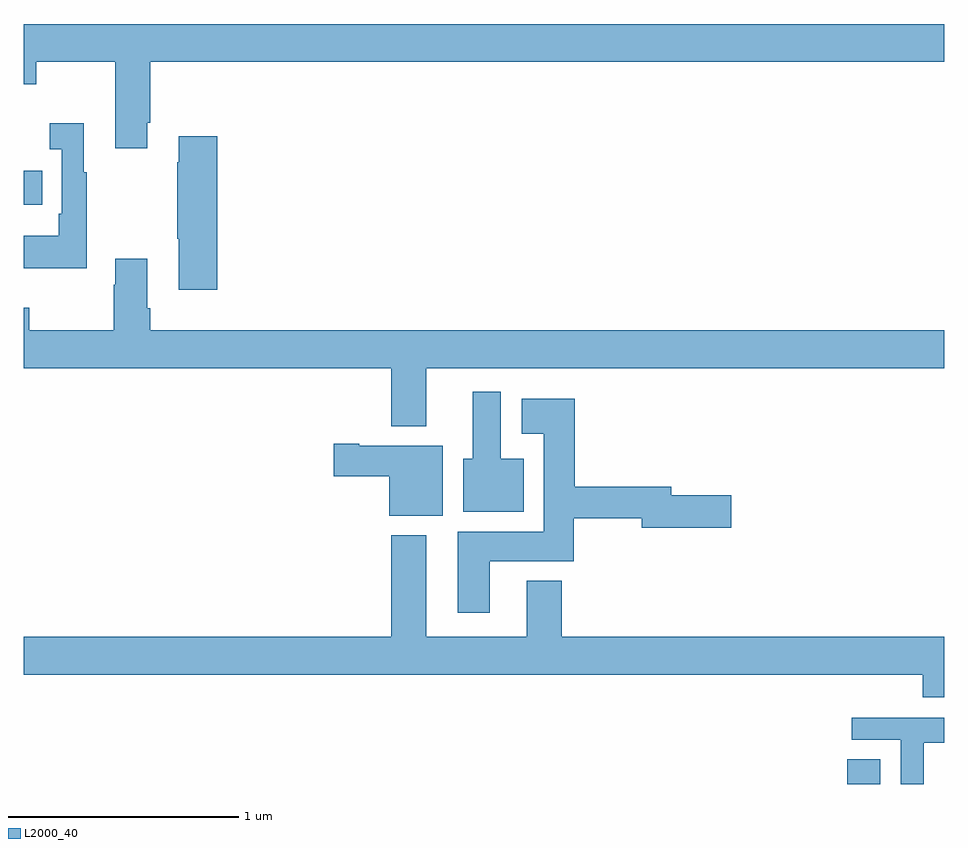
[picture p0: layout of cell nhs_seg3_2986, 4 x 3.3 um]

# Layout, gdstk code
import gdstk
lib = gdstk.Library(unit=1e-6, precision=1e-09)
def R(c, l, rs):  # rectangles x0, y0, x1, y1
    for r in rs: c.add(gdstk.rectangle(r[:2], r[2:], *l))
def P(c, l, *ps):  # polygons
    for p in ps: c.add(gdstk.Polygon(p, *l))
L2000_40 = (2000, 40)

nhs_seg3_2986 = lib.new_cell('nhs_seg3_2986')
R(nhs_seg3_2986, L2000_40, [(268.58,740.4,268.723,740.507), (265,742.919,265.079,743.067)])
P(nhs_seg3_2986, L2000_40, [(265.537,743.275),(265.55,743.275),(265.55,743.54),(269,743.54),(269,743.704),(265,743.704),(265,743.441),(265.053,743.441),(265.053,743.54),(265.397,743.54),(265.397,743.163),(265.537,743.163)],
  [(265.273,743.059),(265.261,743.059),(265.261,743.272),(265.113,743.272),(265.113,743.159),(265.164,743.159),(265.164,742.879),(265.152,742.879),(265.152,742.783),(265,742.783),(265,742.643),(265.273,742.643)],
  [(265.841,743.215),(265.673,743.215),(265.673,743.102),(265.666,743.102),(265.666,742.771),(265.673,742.771),(265.673,742.548),(265.841,742.548)],
  [(266.749,742.208),(269,742.208),(269,742.372),(265.55,742.372),(265.55,742.468),(265.537,742.468),(265.537,742.684),(265.397,742.684),(265.397,742.571),(265.39,742.571),(265.39,742.372),(265.023,742.372),(265.023,742.471),(265,742.471),(265,742.208),(266.597,742.208),(266.597,741.956),(266.749,741.956)],
  [(267.172,741.814),(267.073,741.814),(267.073,742.105),(266.951,742.105),(266.951,741.814),(266.909,741.814),(266.909,741.584),(267.172,741.584)],
  [(267.025,741.368),(267.39,741.368),(267.39,741.556),(267.686,741.556),(267.686,741.514),(268.075,741.514),(268.075,741.656),(267.814,741.656),(267.814,741.692),(267.395,741.692),(267.395,742.075),(267.165,742.075),(267.165,741.923),(267.26,741.923),(267.26,741.496),(266.885,741.496),(266.885,741.144),(267.025,741.144)],
  [(266.821,741.871),(266.458,741.871),(266.458,741.879),(266.346,741.879),(266.346,741.737),(266.588,741.737),(266.588,741.566),(266.821,741.566)],
  [(269,741.04),(267.338,741.04),(267.338,741.283),(267.185,741.283),(267.185,741.04),(266.749,741.04),(266.749,741.481),(266.597,741.481),(266.597,741.04),(265,741.04),(265,740.876),(268.907,740.876),(268.907,740.777),(269,740.777)],
  [(268.911,740.58),(269,740.58),(269,740.688),(268.599,740.688),(268.599,740.592),(268.812,740.592),(268.812,740.4),(268.911,740.4)])

lib.write_gds('nhs_seg3_2986.gds')
